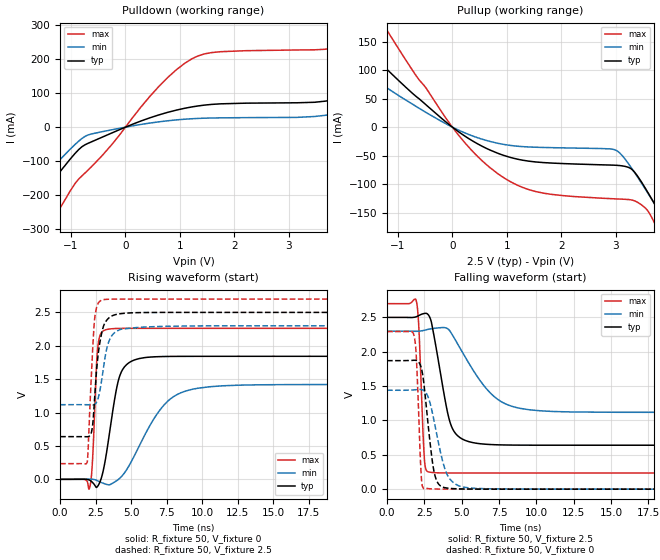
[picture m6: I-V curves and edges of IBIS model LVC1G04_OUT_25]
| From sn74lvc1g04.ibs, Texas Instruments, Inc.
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[Model]   LVC1G04_OUT_25
Model_type  Output
Vref =   0
Rref =   500
Cref =   30p
Vmeas =   1.25
| variable   typ   min   max
C_comp   9.18pF   3.45pF   12.47pF
| C_pullup   10.33pF   7.23pF   12.47pF
| C_pulldown   8.04pF   3.45pF   11.83pF
[Temperature Range]   40   100   -40
| Ambient temperature   25   85   -40
[Voltage range]   2.5   2.3   2.7
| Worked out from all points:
|   slope of the pulldown table from 0 to 0.375 V, typ, clamps not added: 16.1 ohm
|   slope of the pullup table from 0 to 0.375 V, typ, clamps not added: 15.3 ohm
|   rising waveform, R_fixture 50, V_fixture 0: 20-80 % time 852ps typ, 2.36ns min, 265ps max; typ from 0 V to 1.84 V
|   falling waveform, R_fixture 50, V_fixture 2.5: 20-80 % time 939ps typ, 2.28ns min, 267ps max; typ from 2.5 V to 0.639 V
|   rising waveform, R_fixture 50, V_fixture 2.5: 20-80 % time 500ps typ, 609ps min, 335ps max; typ from 0.639 V to 2.5 V
|   falling waveform, R_fixture 50, V_fixture 0: 20-80 % time 566ps typ, 893ps min, 246ps max; typ from 1.87 V to 0 V
[Pulldown]
| LVC1G04_OUT_25
|   Voltage   I(typ)   I(min)   I(max)
-5.5V     -1.03A     -909.9mA   -1.185A
-2.405V   -378.9mA   -305.8mA   -547.8mA
-2.03V    -300.7mA   -238.6mA   -456.6mA
-1.61V    -213.8mA   -164.7mA   -348.3mA
-690mV    -47.75mA   -23.12mA   -126.6mA
780mV     43.68mA    18.78mA    146.4mA
1.45V     64.71mA    26.32mA    215.2mA
3.855V    81.09mA    38.95mA    233.4mA
5.03V     136.8mA    73.54mA    310.1mA
6.07V     189.5mA    29.84mA    417.5mA
6.855V    77.77mA    29.93mA    507.2mA
11V       76.12mA    30.52mA    245.3mA
[Pullup]
| LVC1G04_OUT_25
|   Voltage   I(typ)   I(min)   I(max)
-5.5V     508.7mA    327.9mA    912.4mA
-2.845V   259.7mA    175.7mA    440.7mA
-2V       177.3mA    120.8mA    297.8mA
-1.4V     119.9mA    81.55mA    200.9mA
-25mV     1.854mA    1.209mA    3.208mA
835mV     -45.83mA   -28.3mA    -81.6mA
1.535V    -61.1mA    -35.27mA   -113.1mA
3.015V    -66.95mA   -40.96mA   -125.9mA
3.31V     -75.08mA   -74.29mA   -128.1mA
3.775V    -144.8mA   -143.6mA   -180.3mA
4.03V     -188.6mA   -183.4mA   -235.1mA
11V       -1.577A    -1.48A     -1.747A
[Ramp]
| LVC1G04_OUT_25
| variable   typ   min   max
dV/dt_r   1.18/9.01E-10   0.90/2.45E-09   1.44/2.87E-10
dV/dt_f   1.15/9.63E-10   0.74/2.33E-09   1.52/2.84E-10
R_load = 50
[Rising Waveform]
| LVC1G04_OUT_25
R_fixture =   50
C_fixture =   0
L_fixture =   0
V_fixture =   0
V_fixture_min = 0
V_fixture_max = 0
|   Time   V(typ)   V(min)   V(max)
0s        160.4pV    134.3nV    44.6pV
2.085ns   -13.8mV    3.127mV    -120.5mV
2.285ns   -47.4mV    1.293mV    302.4mV
2.625ns   -108.8mV   -20.98mV   1.92V
3.125ns   223.3mV    -65.31mV   2.233V
4.135ns   1.506V     4.574mV    2.26V
5.255ns   1.79V      364.3mV    2.262V
7.21ns    1.839V     1.087V     2.262V
9.095ns   1.842V     1.338V     2.262V
24.5ns    1.843V     1.42V      2.262V
[Falling Waveform]
| LVC1G04_OUT_25
R_fixture =   50
C_fixture =   0
L_fixture =   0
V_fixture =   2.5
V_fixture_min = 2.3
V_fixture_max = 2.7
|   Time   V(typ)   V(min)   V(max)
0s        2.5V       2.3V       2.7V
1.965ns   2.51V      2.297V     2.734V
2.13ns    2.527V     2.299V     2.356V
2.5ns     2.557V     2.312V     445.9mV
2.715ns   2.549V     2.324V     255.3mV
4.2ns     987.8mV    2.305V     235.6mV
5.23ns    709.9mV    1.925V     235mV
7.055ns   648.4mV    1.371V     234.9mV
8.93ns    640.7mV    1.175V     234.9mV
24.5ns    639.5mV    1.118V     234.9mV
[Rising Waveform]
| LVC1G04_OUT_25
R_fixture =   50
C_fixture =   0
L_fixture =   0
V_fixture =   2.5
V_fixture_min = 2.3
V_fixture_max = 2.7
|   Time   V(typ)   V(min)   V(max)
0s        639.5mV    1.118V     234.9mV
1.915ns   638mV      1.117V     262.9mV
2.215ns   712.5mV    1.114V     1.624V
2.31ns    856.5mV    1.114V     2.024V
2.405ns   1.144V     1.119V     2.348V
2.63ns    1.779V     1.184V     2.615V
2.895ns   2.158V     1.445V     2.68V
3.42ns    2.415V     2.058V     2.697V
4.315ns   2.482V     2.249V     2.7V
24.5ns    2.5V       2.3V       2.7V
[Falling Waveform]
| LVC1G04_OUT_25
R_fixture =   50
C_fixture =   0
L_fixture =   0
V_fixture =   0
V_fixture_min = 0
V_fixture_max = 0
|   Time   V(typ)   V(min)   V(max)
0s        1.871V     1.44V      2.293V
1.82ns    1.876V     1.445V     2.229V
1.975ns   1.872V     1.448V     1.866V
2.295ns   1.763V     1.45V      184.2mV
2.465ns   1.541V     1.434V     4.966mV
3.13ns    275.6mV    1.015V     3.286mV
3.775ns   27.15mV    367.3mV    887uV
4.405ns   8.304mV    102.8mV    249.2uV
5.59ns    1.731mV    16.13mV    27.72uV
24.5ns    2.459uV    3.493uV    2.713uV
